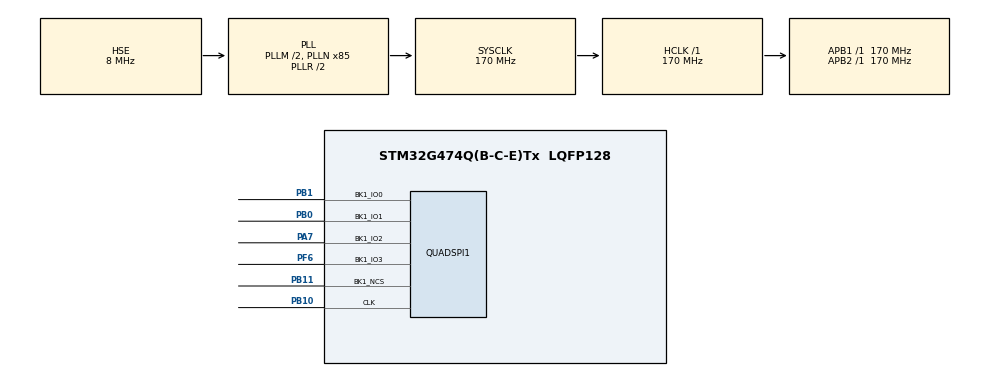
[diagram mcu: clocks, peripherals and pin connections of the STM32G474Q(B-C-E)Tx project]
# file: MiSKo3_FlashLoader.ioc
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Mcu.Family=STM32G4
Mcu.Name=STM32G474Q(B-C-E)Tx
Mcu.Package=LQFP128
NVIC.PriorityGroup=NVIC_PRIORITYGROUP_4
PA7.Mode=Single Bank 1
PA7.Signal=QUADSPI1_BK1_IO2
PB0.Mode=Single Bank 1
PB0.Signal=QUADSPI1_BK1_IO1
PB1.Mode=Single Bank 1
PB1.Signal=QUADSPI1_BK1_IO0
PB10.Mode=Single Bank 1
PB10.Signal=QUADSPI1_CLK
PB11.Mode=Single Bank 1
PB11.Signal=QUADSPI1_BK1_NCS
PF0-OSC_IN.Mode=HSE-External-Clock-Source
PF0-OSC_IN.Signal=RCC_OSC_IN
PF6.Mode=Single Bank 1
PF6.Signal=QUADSPI1_BK1_IO3
ProjectManager.HeapSize=0x200
ProjectManager.StackSize=0x400
ProjectManager.TargetToolchain=STM32CubeIDE
QUADSPI1.ChipSelectHighTime=QSPI_CS_HIGH_TIME_1_CYCLE
QUADSPI1.ClockPrescaler=6
QUADSPI1.FlashSize=23
RCC.ADC12Freq_Value=170000000
RCC.ADC345Freq_Value=170000000
RCC.AHBFreq_Value=170000000
RCC.APB1Freq_Value=170000000
RCC.APB1TimFreq_Value=170000000
RCC.APB2Freq_Value=170000000
RCC.APB2TimFreq_Value=170000000
RCC.CortexFreq_Value=170000000
RCC.EXTERNAL_CLOCK_VALUE=12288000
RCC.HCLKFreq_Value=170000000
RCC.HSE_VALUE=8000000
RCC.HSI48_VALUE=48000000
RCC.HSI_VALUE=16000000
RCC.LSE_VALUE=32768
RCC.PLLM=RCC_PLLM_DIV2
RCC.PLLN=85
RCC.PLLSourceVirtual=RCC_PLLSOURCE_HSE
RCC.SYSCLKFreq_VALUE=170000000
RCC.SYSCLKSource=RCC_SYSCLKSOURCE_PLLCLK
RCC.USBFreq_Value=170000000
RCC.VCOOutputFreq_Value=340000000
board=custom

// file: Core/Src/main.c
/* USER CODE BEGIN Header */
/**
  ******************************************************************************
  * @file           : main.c
  * @brief          : Main program body
  ******************************************************************************
  * @attention
  *
  * Copyright (c) 2023 STMicroelectronics.
  * All rights reserved.
  *
  * This software is licensed under terms that can be found in the LICENSE file
  * in the root directory of this software component.
  * If no LICENSE file comes with this software, it is provided AS-IS.
  *
  ******************************************************************************
  */
/* USER CODE END Header */
#include "main.h"
#include "quadspi.h"
#include "gpio.h"

void SystemClock_Config(void);

/* USER CODE BEGIN 0 */
#include <string.h>
#define SECTORS_COUNT 100
/* USER CODE END 0 */

int main(void)
{

  /* MCU Configuration--------------------------------------------------------*/

  /* Reset of all peripherals, Initializes the Flash interface and the Systick. */
  HAL_Init();

  /* Configure the system clock */
  SystemClock_Config();

  /* Initialize all configured peripherals */
  MX_GPIO_Init();
  MX_QUADSPI1_Init();
  /* USER CODE BEGIN 2 */

uint8_t buffer_test[MEMORY_SECTOR_SIZE];
uint32_t var = 0;

if (CSP_QUADSPI_Init() != HAL_OK) {
	while (1)
	;
}

for (var = 0; var < MEMORY_SECTOR_SIZE; var++) {
    buffer_test[var] = var & 0xff;
}

for (var = 0; var < SECTORS_COUNT; var++) {
	HAL_StatusTypeDef status;

	status = CSP_QSPI_EraseSector(var * MEMORY_SECTOR_SIZE, (var + 1) * MEMORY_SECTOR_SIZE - 1);
    if (status != HAL_OK) {
        while (1)
            ;  //breakpoint - error detected
    }

    status = CSP_QSPI_WriteMemory(buffer_test, var * MEMORY_SECTOR_SIZE, sizeof(buffer_test));
    if (status != HAL_OK) {
        while (1)
            ;  //breakpoint - error detected
    }

}

if (CSP_QSPI_EnableMemoryMappedMode() != HAL_OK) {

    while (1)
        ; //breakpoint - error detected
}

for (var = 0; var < SECTORS_COUNT; var++) {
    if (memcmp(buffer_test,
               (uint8_t*) (0x90000000 + var * MEMORY_SECTOR_SIZE),
               MEMORY_SECTOR_SIZE) != HAL_OK) {
        while (1)
            ;  //breakpoint - error detected - otherwise QSPI works properly
    }
}

  /* USER CODE END 2 */

  /* Infinite loop */
  while (1)
  {

  }
}

void SystemClock_Config(void)
{
  RCC_OscInitTypeDef RCC_OscInitStruct = {0};
  RCC_ClkInitTypeDef RCC_ClkInitStruct = {0};

  /** Configure the main internal regulator output voltage
  */
  HAL_PWREx_ControlVoltageScaling(PWR_REGULATOR_VOLTAGE_SCALE1_BOOST);

  /** Initializes the RCC Oscillators according to the specified parameters
  * in the RCC_OscInitTypeDef structure.
  */
  RCC_OscInitStruct.OscillatorType = RCC_OSCILLATORTYPE_HSE;
  RCC_OscInitStruct.HSEState = RCC_HSE_BYPASS;
  RCC_OscInitStruct.PLL.PLLState = RCC_PLL_ON;
  RCC_OscInitStruct.PLL.PLLSource = RCC_PLLSOURCE_HSE;
  RCC_OscInitStruct.PLL.PLLM = RCC_PLLM_DIV2;
  RCC_OscInitStruct.PLL.PLLN = 85;
  RCC_OscInitStruct.PLL.PLLP = RCC_PLLP_DIV2;
  RCC_OscInitStruct.PLL.PLLQ = RCC_PLLQ_DIV2;
  RCC_OscInitStruct.PLL.PLLR = RCC_PLLR_DIV2;
  if (HAL_RCC_OscConfig(&RCC_OscInitStruct) != HAL_OK)
  {
    Error_Handler();
  }

  /** Initializes the CPU, AHB and APB buses clocks
  */
  RCC_ClkInitStruct.ClockType = RCC_CLOCKTYPE_HCLK|RCC_CLOCKTYPE_SYSCLK
                              |RCC_CLOCKTYPE_PCLK1|RCC_CLOCKTYPE_PCLK2;
  RCC_ClkInitStruct.SYSCLKSource = RCC_SYSCLKSOURCE_PLLCLK;
  RCC_ClkInitStruct.AHBCLKDivider = RCC_SYSCLK_DIV1;
  RCC_ClkInitStruct.APB1CLKDivider = RCC_HCLK_DIV1;
  RCC_ClkInitStruct.APB2CLKDivider = RCC_HCLK_DIV1;

  if (HAL_RCC_ClockConfig(&RCC_ClkInitStruct, FLASH_LATENCY_4) != HAL_OK)
  {
    Error_Handler();
  }
}

void Error_Handler(void)
{
  __disable_irq();
  while (1)
  {
  }
}
